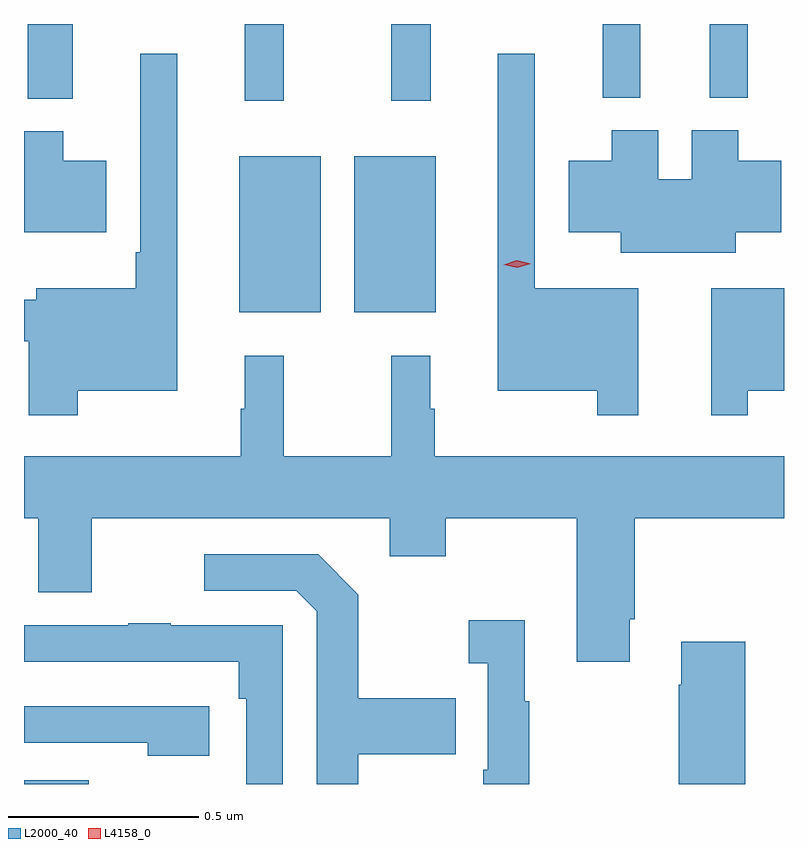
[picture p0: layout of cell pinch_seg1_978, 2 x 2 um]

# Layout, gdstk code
import gdstk
lib = gdstk.Library(unit=1e-6, precision=1e-09)
def R(c, l, rs):  # rectangles x0, y0, x1, y1
    for r in rs: c.add(gdstk.rectangle(r[:2], r[2:], *l))
def P(c, l, *ps):  # polygons
    for p in ps: c.add(gdstk.Polygon(p, *l))
L2000_40 = (2000, 40)
L4158_0 = (4158, 0)

pinch_seg1_978 = lib.new_cell('pinch_seg1_978')
R(pinch_seg1_978, L2000_40, [(161.157,569.681,161.327,569.691), (161.723,570.923,161.938,571.333), (162.026,570.923,162.241,571.333), (161.738,571.479,161.84,571.681), (162.124,571.479,162.227,571.681), (161.167,571.484,161.285,571.681), (162.68,571.487,162.779,571.681), (162.962,571.487,163.061,571.681)])
P(pinch_seg1_978, L2000_40, [(161.299,570.716),(161.56,570.716),(161.56,571.603),(161.463,571.603),(161.463,571.081),(161.451,571.081),(161.451,570.985),(161.189,570.985),(161.189,570.955),(161.157,570.955),(161.157,570.846),(161.17,570.846),(161.17,570.651),(161.299,570.651)],
  [(162.774,570.985),(162.501,570.985),(162.501,571.603),(162.404,571.603),(162.404,570.716),(162.666,570.716),(162.666,570.651),(162.774,570.651)],
  [(163.03,571.133),(163.15,571.133),(163.15,571.321),(163.036,571.321),(163.036,571.402),(162.914,571.402),(162.914,571.273),(162.826,571.273),(162.826,571.402),(162.704,571.402),(162.704,571.321),(162.59,571.321),(162.59,571.133),(162.728,571.133),(162.728,571.079),(163.03,571.079)],
  [(161.374,571.321),(161.26,571.321),(161.26,571.399),(161.157,571.399),(161.157,571.133),(161.374,571.133)],
  [(163.062,570.716),(163.157,570.716),(163.157,570.985),(162.966,570.985),(162.966,570.651),(163.062,570.651)],
  [(162.238,570.668),(162.226,570.668),(162.226,570.808),(162.124,570.808),(162.124,570.544),(161.84,570.544),(161.84,570.808),(161.738,570.808),(161.738,570.668),(161.727,570.668),(161.727,570.544),(161.157,570.544),(161.157,570.38),(161.195,570.38),(161.195,570.186),(161.335,570.186),(161.335,570.38),(162.119,570.38),(162.119,570.281),(162.267,570.281),(162.267,570.38),(162.611,570.38),(162.611,570.003),(162.751,570.003),(162.751,570.115),(162.764,570.115),(162.764,570.38),(163.157,570.38),(163.157,570.544),(162.238,570.544)],
  [(162.037,569.759),(162.293,569.759),(162.293,569.907),(162.037,569.907),(162.037,570.179),(161.931,570.285),(161.631,570.285),(161.631,570.189),(161.874,570.189),(161.928,570.135),(161.928,569.681),(162.037,569.681)],
  [(162.487,569.899),(162.475,569.899),(162.475,570.112),(162.327,570.112),(162.327,569.999),(162.378,569.999),(162.378,569.719),(162.366,569.719),(162.366,569.681),(162.487,569.681)],
  [(161.838,570.099),(161.543,570.099),(161.543,570.104),(161.431,570.104),(161.431,570.099),(161.157,570.099),(161.157,570.003),(161.722,570.003),(161.722,569.906),(161.742,569.906),(161.742,569.681),(161.838,569.681)],
  [(163.055,570.055),(162.887,570.055),(162.887,569.942),(162.88,569.942),(162.88,569.681),(163.055,569.681)],
  [(161.644,569.886),(161.157,569.886),(161.157,569.79),(161.483,569.79),(161.483,569.756),(161.644,569.756)])
P(pinch_seg1_978, L4158_0, [(162.455,571.039),(162.419,571.047),(162.419,571.047),(162.419,571.048),(162.454,571.059),(162.49,571.05),(162.49,571.05),(162.49,571.05)])

lib.write_gds('pinch_seg1_978.gds')
